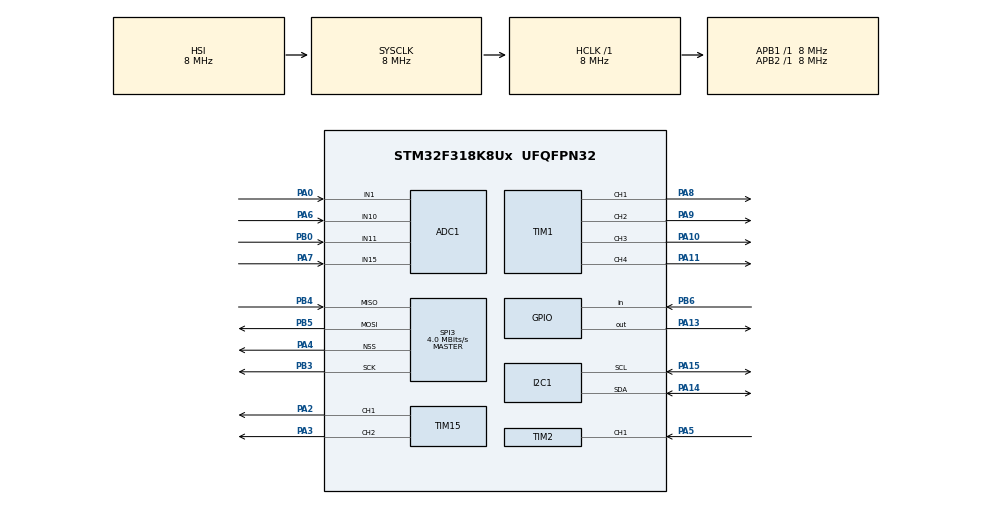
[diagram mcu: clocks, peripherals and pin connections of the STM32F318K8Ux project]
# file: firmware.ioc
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ADC1.Channel-1\#ChannelRegularConversion=ADC_CHANNEL_1
ADC1.ClockPrescaler=ADC_CLOCK_ASYNC_DIV1
ADC1.DMAContinuousRequests=ENABLE
ADC1.NbrOfConversionFlag=1
ADC1.Offset-1\#ChannelRegularConversion=0
ADC1.OffsetNumber-1\#ChannelRegularConversion=ADC_OFFSET_NONE
ADC1.Rank-1\#ChannelRegularConversion=1
ADC1.SamplingTime-1\#ChannelRegularConversion=ADC_SAMPLETIME_1CYCLE_5
ADC1.SubFamily=STM32F318x8
ADC1.master=1
Dma.ADC1.0.Direction=DMA_PERIPH_TO_MEMORY
Dma.ADC1.0.Instance=DMA1_Channel1
Dma.ADC1.0.MemDataAlignment=DMA_MDATAALIGN_HALFWORD
Dma.ADC1.0.MemInc=DMA_MINC_ENABLE
Dma.ADC1.0.Mode=DMA_NORMAL
Dma.ADC1.0.PeriphDataAlignment=DMA_PDATAALIGN_HALFWORD
Dma.ADC1.0.PeriphInc=DMA_PINC_DISABLE
Dma.ADC1.0.Priority=DMA_PRIORITY_MEDIUM
Dma.Request0=ADC1
I2C1.Timing=0x00201D2B
Mcu.Family=STM32F3
Mcu.Name=STM32F318K8Ux
Mcu.Package=UFQFPN32
NVIC.DMA1_Channel1_IRQn=true\:0\:0\:false\:false\:true\:false\:true\:true
NVIC.PriorityGroup=NVIC_PRIORITYGROUP_4
NVIC.TIM2_IRQn=true\:0\:0\:false\:false\:true\:true\:true\:true
PA0.Mode=IN1-Single-Ended
PA0.Signal=ADC1_IN1
PA10.Signal=S_TIM1_CH3
PA11.Signal=S_TIM1_CH4
PA13.GPIO_PuPd=GPIO_PULLUP
PA13.Signal=GPIO_Output
PA14.Mode=I2C
PA14.Signal=I2C1_SDA
PA15.Mode=I2C
PA15.Signal=I2C1_SCL
PA2.Signal=S_TIM15_CH1
PA3.Signal=S_TIM15_CH2
PA4.Mode=NSS_Signal_Hard_Output
PA4.Signal=SPI3_NSS
PA5.Signal=S_TIM2_CH1_ETR
PA6.Signal=ADCx_IN10
PA7.Mode=IN15-Single-Ended
PA7.Signal=ADC1_IN15
PA8.Signal=S_TIM1_CH1
PA9.Signal=S_TIM1_CH2
PB0.Mode=IN11-Single-Ended
PB0.Signal=ADC1_IN11
PB3.Mode=Full_Duplex_Master
PB3.Signal=SPI3_SCK
PB4.Mode=Full_Duplex_Master
PB4.Signal=SPI3_MISO
PB5.Mode=Full_Duplex_Master
PB5.Signal=SPI3_MOSI
PB6.Signal=GPIO_Input
PF0-OSC_IN.Mode=HSE-External-Oscillator
PF0-OSC_IN.Signal=RCC_OSC_IN
PF1-OSC_OUT.Mode=HSE-External-Oscillator
PF1-OSC_OUT.Signal=RCC_OSC_OUT
ProjectManager.HeapSize=0x200
ProjectManager.StackSize=0x400
ProjectManager.TargetToolchain=CMake
RCC.AHBFreq_Value=8000000
RCC.APB1Freq_Value=8000000
RCC.APB2Freq_Value=8000000
RCC.CortexFreq_Value=8000000
RCC.HSE_VALUE=8000000
RCC.HSI_VALUE=8000000
RCC.PLLMUL=RCC_PLL_MUL4
RCC.SYSCLKFreq_VALUE=8000000
SH.ADCx_IN10.0=ADC1_IN10,IN10-Single-Ended
SH.S_TIM15_CH1.0=TIM15_CH1,PWM Generation1 CH1
SH.S_TIM15_CH2.0=TIM15_CH2,PWM Generation2 CH2
SH.S_TIM1_CH1.0=TIM1_CH1,PWM Generation1 CH1
SH.S_TIM1_CH2.0=TIM1_CH2,PWM Generation2 CH2
SH.S_TIM1_CH3.0=TIM1_CH3,PWM Generation3 CH3
SH.S_TIM1_CH4.0=TIM1_CH4,PWM Generation4 CH4
SH.S_TIM2_CH1_ETR.0=TIM2_CH1,PWM_Input_1
SPI3.CalculateBaudRate=4.0 MBits/s
SPI3.Direction=SPI_DIRECTION_2LINES
SPI3.Mode=SPI_MODE_MASTER
SPI3.VirtualNSS=VM_NSSHARD
SPI3.VirtualType=VM_MASTER
TIM1.AutoReloadPreload=TIM_AUTORELOAD_PRELOAD_ENABLE
TIM1.Channel-PWM\ Generation1\ CH1=TIM_CHANNEL_1
TIM1.Channel-PWM\ Generation2\ CH2=TIM_CHANNEL_2
TIM1.Channel-PWM\ Generation3\ CH3=TIM_CHANNEL_3
TIM1.Channel-PWM\ Generation4\ CH4=TIM_CHANNEL_4
TIM15.AutoReloadPreload=TIM_AUTORELOAD_PRELOAD_ENABLE
TIM15.Channel-PWM\ Generation1\ CH1=TIM_CHANNEL_1
TIM15.Channel-PWM\ Generation2\ CH2=TIM_CHANNEL_2
VP_ADC1_TempSens_Input.Mode=IN-TempSens
VP_TIM15_VS_ClockSourceINT.Mode=Internal
VP_TIM1_VS_ClockSourceINT.Mode=Internal
VP_TIM2_VS_ClockSourceINT.Mode=Internal
board=custom

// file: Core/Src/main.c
/* USER CODE BEGIN Header */
/**
 ******************************************************************************
 * @file           : main.c
 * @brief          : Main program body
 ******************************************************************************
 * @attention
 *
 * Copyright (c) 2026 STMicroelectronics.
 * All rights reserved.
 *
 * This software is licensed under terms that can be found in the LICENSE file
 * in the root directory of this software component.
 * If no LICENSE file comes with this software, it is provided AS-IS.
 *
 ******************************************************************************
 */
/* USER CODE END Header */
#include "main.h"

/* USER CODE BEGIN Includes */

#include <stdbool.h>
#include <stddef.h>
#include <stdint.h>
#include <sys/types.h>

#include "pid.h"
#include "stm32f3xx_hal_gpio.h"

/* USER CODE END Includes */

/* USER CODE BEGIN PD */

#define HAL_TIMEOUT 100
#define MIN_RPM 100
#define MAX_RPM 1000
#define BEMF_MIN_MARGIN 0.1 // How much above zero the BEMF voltage needs to be to read
#define BEMF_MAX_MARGIN 1   // How much below sys voltage BEMF needs to be to read
#define SET_ROTOR_TIME 10   // How long to wait in ms to set rotor to position
#define MIN_DUTY_CYCLE 0.1  // Minimum pwm duty cycle to send to gate driver

// System define
#define BEMF_A_INDEX 1
#define BEMF_B_INDEX 2
#define BEMF_C_INDEX 0
#define V_GND_INDEX 3
#define TEMP_INDEX 4

/* USER CODE END PD */

ADC_HandleTypeDef hadc1;
DMA_HandleTypeDef hdma_adc1;

I2C_HandleTypeDef hi2c1;

SPI_HandleTypeDef hspi3;

TIM_HandleTypeDef htim1;
TIM_HandleTypeDef htim2;
TIM_HandleTypeDef htim15;

/* USER CODE BEGIN PV */

const uint32_t STARTUP_DELAY = MIN_RPM / 360000; // Convert RPM to 1/6 revolutions per ms

pid_control_t speed_pid;

double rotor_angle;
double prev_rotor_angle;
double prev_rotor_angle_time;
double prev_rotor_speed_time;
double zero_cross_time;
double rotor_speed;
double input_speed;

double rotor_current[3];
double rotor_bemf[3];
double prev_rotor_bemf[3];

int8_t dir = 1;
int8_t sequence[6][3] = { // 1 is VCC, -1 is GND, and 0 is floating
	{1, -1, 0},
	{1, 0, -1},
	{0, 1, -1},
	{-1, 1, 0},
	{-1, 0, 1},
	{0, -1, 1}
};
volatile uint32_t *sequence_tim[3][2] = {
	{&TIM1->CCR4, &TIM1->CCR3},
	{&TIM1->CCR2, &TIM1->CCR1},
	{&TIM15->CCR1, &TIM15->CCR2},
};
uint32_t phase_angles[] = {0, 120, 240};
uint8_t step;
uint8_t floating;

uint32_t adc_buf[5];
/* USER CODE END PV */

void SystemClock_Config(void);
static void MX_GPIO_Init(void);
static void MX_DMA_Init(void);
static void MX_ADC1_Init(void);
static void MX_I2C1_Init(void);
static void MX_SPI3_Init(void);
static void MX_TIM1_Init(void);
static void MX_TIM2_Init(void);
static void MX_TIM15_Init(void);
/* USER CODE BEGIN PFP */

// Helper functions
static uint8_t sign(double value);
static float process_adc(uint32_t raw_value);
static float process_current(double raw_value);
static uint8_t check_valid_bemf(double bemf_v);
static double clamp(double value, double min, double max);
static double map(double value, double in_min, double in_max, double out_min, double out_max);

// Primary funcitons
static double get_rotor_angle(uint8_t floating, double rotor_speed);
static void get_rotor_bemf(double *rotor_bemf_p);
static void get_rotor_current(double *rotor_current_p);

static void drive_rotor(uint8_t step, double duty_cycle);
static void get_zero_crossing(double bemf[3], double prev_bemf[3]);

static void set_rotor(void);
static void startup_sequence(void);

/* USER CODE END PFP */

int main(void)
{

	/* USER CODE BEGIN 1 */
	reset_pid(&speed_pid);

	/* USER CODE END 1 */

	/* MCU Configuration--------------------------------------------------------*/

	/* Reset of all peripherals, Initializes the Flash interface and the Systick. */
	HAL_Init();

	/* Configure the system clock */
	SystemClock_Config();

	/* Initialize all configured peripherals */
	MX_GPIO_Init();
	MX_DMA_Init();
	MX_ADC1_Init();
	MX_I2C1_Init();
	MX_SPI3_Init();
	MX_TIM1_Init();
	MX_TIM2_Init();
	MX_TIM15_Init();
	/* USER CODE BEGIN 2 */

	// Start polling ADC
	HAL_ADC_Start_DMA(&hadc1, adc_buf, 5);

	// Get motor direction
	if (HAL_GPIO_ReadPin(GPIOB, 6)) {
		dir = -1;
	}

	set_rotor();

	/* USER CODE END 2 */

	/* Infinite loop */
	while (1)
	{

		/* USER CODE BEGIN 3 */

		get_rotor_bemf(rotor_bemf);
		get_zero_crossing(rotor_bemf, prev_rotor_bemf);
		rotor_angle = get_rotor_angle(floating, rotor_speed);

		loop_pid(&speed_pid, rotor_speed, input_speed);

		drive_rotor(step, clamp(speed_pid.output, MIN_DUTY_CYCLE, 100));

		// Update previous rotor bemf
		for (int i = 0; i < 3; i++) {
			prev_rotor_bemf[i] = rotor_bemf[i];
		}
	}
	/* USER CODE END 3 */
}

void SystemClock_Config(void)
{
	RCC_OscInitTypeDef RCC_OscInitStruct = {0};
	RCC_ClkInitTypeDef RCC_ClkInitStruct = {0};
	RCC_PeriphCLKInitTypeDef PeriphClkInit = {0};

	/** Initializes the RCC Oscillators according to the specified parameters
	 * in the RCC_OscInitTypeDef structure.
	 */
	RCC_OscInitStruct.OscillatorType = RCC_OSCILLATORTYPE_HSI;
	RCC_OscInitStruct.HSIState = RCC_HSI_ON;
	RCC_OscInitStruct.HSICalibrationValue = RCC_HSICALIBRATION_DEFAULT;
	RCC_OscInitStruct.PLL.PLLState = RCC_PLL_ON;
	RCC_OscInitStruct.PLL.PLLSource = RCC_PLLSOURCE_HSI;
	RCC_OscInitStruct.PLL.PLLMUL = RCC_PLL_MUL4;
	if (HAL_RCC_OscConfig(&RCC_OscInitStruct) != HAL_OK)
	{
		Error_Handler();
	}

	/** Initializes the CPU, AHB and APB buses clocks
	 */
	RCC_ClkInitStruct.ClockType = RCC_CLOCKTYPE_HCLK|RCC_CLOCKTYPE_SYSCLK
	                              |RCC_CLOCKTYPE_PCLK1|RCC_CLOCKTYPE_PCLK2;
	RCC_ClkInitStruct.SYSCLKSource = RCC_SYSCLKSOURCE_HSI;
	RCC_ClkInitStruct.AHBCLKDivider = RCC_SYSCLK_DIV1;
	RCC_ClkInitStruct.APB1CLKDivider = RCC_HCLK_DIV1;
	RCC_ClkInitStruct.APB2CLKDivider = RCC_HCLK_DIV1;

	if (HAL_RCC_ClockConfig(&RCC_ClkInitStruct, FLASH_LATENCY_0) != HAL_OK)
	{
		Error_Handler();
	}
	PeriphClkInit.PeriphClockSelection = RCC_PERIPHCLK_I2C1|RCC_PERIPHCLK_TIM1
	                                     |RCC_PERIPHCLK_TIM15|RCC_PERIPHCLK_ADC1;
	PeriphClkInit.I2c1ClockSelection = RCC_I2C1CLKSOURCE_HSI;
	PeriphClkInit.Tim1ClockSelection = RCC_TIM1CLK_HCLK;
	PeriphClkInit.Tim15ClockSelection = RCC_TIM15CLK_HCLK;
	PeriphClkInit.Adc1ClockSelection = RCC_ADC1PLLCLK_DIV1;

	if (HAL_RCCEx_PeriphCLKConfig(&PeriphClkInit) != HAL_OK)
	{
		Error_Handler();
	}
}

static void MX_ADC1_Init(void)
{

	ADC_ChannelConfTypeDef sConfig = {0};

	/** Common config
	 */
	hadc1.Instance = ADC1;
	hadc1.Init.ClockPrescaler = ADC_CLOCK_ASYNC_DIV1;
	hadc1.Init.Resolution = ADC_RESOLUTION_12B;
	hadc1.Init.ScanConvMode = ADC_SCAN_DISABLE;
	hadc1.Init.ContinuousConvMode = DISABLE;
	hadc1.Init.DiscontinuousConvMode = DISABLE;
	hadc1.Init.ExternalTrigConvEdge = ADC_EXTERNALTRIGCONVEDGE_NONE;
	hadc1.Init.ExternalTrigConv = ADC_SOFTWARE_START;
	hadc1.Init.DataAlign = ADC_DATAALIGN_RIGHT;
	hadc1.Init.NbrOfConversion = 1;
	hadc1.Init.DMAContinuousRequests = ENABLE;
	hadc1.Init.EOCSelection = ADC_EOC_SINGLE_CONV;
	hadc1.Init.LowPowerAutoWait = DISABLE;
	hadc1.Init.Overrun = ADC_OVR_DATA_OVERWRITTEN;
	if (HAL_ADC_Init(&hadc1) != HAL_OK)
	{
		Error_Handler();
	}

	/** Configure Regular Channel
	 */
	sConfig.Channel = ADC_CHANNEL_1;
	sConfig.Rank = ADC_REGULAR_RANK_1;
	sConfig.SingleDiff = ADC_SINGLE_ENDED;
	sConfig.SamplingTime = ADC_SAMPLETIME_1CYCLE_5;
	sConfig.OffsetNumber = ADC_OFFSET_NONE;
	sConfig.Offset = 0;
	if (HAL_ADC_ConfigChannel(&hadc1, &sConfig) != HAL_OK)
	{
		Error_Handler();
	}

}

static void MX_I2C1_Init(void)
{

	hi2c1.Instance = I2C1;
	hi2c1.Init.Timing = 0x00201D2B;
	hi2c1.Init.OwnAddress1 = 0;
	hi2c1.Init.AddressingMode = I2C_ADDRESSINGMODE_7BIT;
	hi2c1.Init.DualAddressMode = I2C_DUALADDRESS_DISABLE;
	hi2c1.Init.OwnAddress2 = 0;
	hi2c1.Init.OwnAddress2Masks = I2C_OA2_NOMASK;
	hi2c1.Init.GeneralCallMode = I2C_GENERALCALL_DISABLE;
	hi2c1.Init.NoStretchMode = I2C_NOSTRETCH_DISABLE;
	if (HAL_I2C_Init(&hi2c1) != HAL_OK)
	{
		Error_Handler();
	}

	/** Configure Analogue filter
	 */
	if (HAL_I2CEx_ConfigAnalogFilter(&hi2c1, I2C_ANALOGFILTER_ENABLE) != HAL_OK)
	{
		Error_Handler();
	}

	/** Configure Digital filter
	 */
	if (HAL_I2CEx_ConfigDigitalFilter(&hi2c1, 0) != HAL_OK)
	{
		Error_Handler();
	}

}

static void MX_SPI3_Init(void)
{

	/* SPI3 parameter configuration*/
	hspi3.Instance = SPI3;
	hspi3.Init.Mode = SPI_MODE_MASTER;
	hspi3.Init.Direction = SPI_DIRECTION_2LINES;
	hspi3.Init.DataSize = SPI_DATASIZE_4BIT;
	hspi3.Init.CLKPolarity = SPI_POLARITY_LOW;
	hspi3.Init.CLKPhase = SPI_PHASE_1EDGE;
	hspi3.Init.NSS = SPI_NSS_HARD_OUTPUT;
	hspi3.Init.BaudRatePrescaler = SPI_BAUDRATEPRESCALER_2;
	hspi3.Init.FirstBit = SPI_FIRSTBIT_MSB;
	hspi3.Init.TIMode = SPI_TIMODE_DISABLE;
	hspi3.Init.CRCCalculation = SPI_CRCCALCULATION_DISABLE;
	hspi3.Init.CRCPolynomial = 7;
	hspi3.Init.CRCLength = SPI_CRC_LENGTH_DATASIZE;
	hspi3.Init.NSSPMode = SPI_NSS_PULSE_ENABLE;
	if (HAL_SPI_Init(&hspi3) != HAL_OK)
	{
		Error_Handler();
	}

}

static void MX_TIM1_Init(void)
{

	TIM_ClockConfigTypeDef sClockSourceConfig = {0};
	TIM_MasterConfigTypeDef sMasterConfig = {0};
	TIM_OC_InitTypeDef sConfigOC = {0};
	TIM_BreakDeadTimeConfigTypeDef sBreakDeadTimeConfig = {0};

	htim1.Instance = TIM1;
	htim1.Init.Prescaler = 0;
	htim1.Init.CounterMode = TIM_COUNTERMODE_UP;
	htim1.Init.Period = 65535;
	htim1.Init.ClockDivision = TIM_CLOCKDIVISION_DIV1;
	htim1.Init.RepetitionCounter = 0;
	htim1.Init.AutoReloadPreload = TIM_AUTORELOAD_PRELOAD_ENABLE;
	if (HAL_TIM_Base_Init(&htim1) != HAL_OK)
	{
		Error_Handler();
	}
	sClockSourceConfig.ClockSource = TIM_CLOCKSOURCE_INTERNAL;
	if (HAL_TIM_ConfigClockSource(&htim1, &sClockSourceConfig) != HAL_OK)
	{
		Error_Handler();
	}
	if (HAL_TIM_PWM_Init(&htim1) != HAL_OK)
	{
		Error_Handler();
	}
	sMasterConfig.MasterOutputTrigger = TIM_TRGO_RESET;
	sMasterConfig.MasterOutputTrigger2 = TIM_TRGO2_RESET;
	sMasterConfig.MasterSlaveMode = TIM_MASTERSLAVEMODE_DISABLE;
	if (HAL_TIMEx_MasterConfigSynchronization(&htim1, &sMasterConfig) != HAL_OK)
	{
		Error_Handler();
	}
	sConfigOC.OCMode = TIM_OCMODE_PWM1;
	sConfigOC.Pulse = 0;
	sConfigOC.OCPolarity = TIM_OCPOLARITY_HIGH;
	sConfigOC.OCNPolarity = TIM_OCNPOLARITY_HIGH;
	sConfigOC.OCFastMode = TIM_OCFAST_DISABLE;
	sConfigOC.OCIdleState = TIM_OCIDLESTATE_RESET;
	sConfigOC.OCNIdleState = TIM_OCNIDLESTATE_RESET;
	if (HAL_TIM_PWM_ConfigChannel(&htim1, &sConfigOC, TIM_CHANNEL_1) != HAL_OK)
	{
		Error_Handler();
	}
	if (HAL_TIM_PWM_ConfigChannel(&htim1, &sConfigOC, TIM_CHANNEL_2) != HAL_OK)
	{
		Error_Handler();
	}
	if (HAL_TIM_PWM_ConfigChannel(&htim1, &sConfigOC, TIM_CHANNEL_3) != HAL_OK)
	{
		Error_Handler();
	}
	if (HAL_TIM_PWM_ConfigChannel(&htim1, &sConfigOC, TIM_CHANNEL_4) != HAL_OK)
	{
		Error_Handler();
	}
	sBreakDeadTimeConfig.OffStateRunMode = TIM_OSSR_DISABLE;
	sBreakDeadTimeConfig.OffStateIDLEMode = TIM_OSSI_DISABLE;
	sBreakDeadTimeConfig.LockLevel = TIM_LOCKLEVEL_OFF;
	sBreakDeadTimeConfig.DeadTime = 0;
	sBreakDeadTimeConfig.BreakState = TIM_BREAK_DISABLE;
	sBreakDeadTimeConfig.BreakPolarity = TIM_BREAKPOLARITY_HIGH;
	sBreakDeadTimeConfig.BreakFilter = 0;
	sBreakDeadTimeConfig.Break2State = TIM_BREAK2_DISABLE;
	sBreakDeadTimeConfig.Break2Polarity = TIM_BREAK2POLARITY_HIGH;
	sBreakDeadTimeConfig.Break2Filter = 0;
	sBreakDeadTimeConfig.AutomaticOutput = TIM_AUTOMATICOUTPUT_DISABLE;
	if (HAL_TIMEx_ConfigBreakDeadTime(&htim1, &sBreakDeadTimeConfig) != HAL_OK)
	{
		Error_Handler();
	}
	HAL_TIM_MspPostInit(&htim1);

}

static void MX_TIM2_Init(void)
{

	TIM_ClockConfigTypeDef sClockSourceConfig = {0};
	TIM_SlaveConfigTypeDef sSlaveConfig = {0};
	TIM_IC_InitTypeDef sConfigIC = {0};
	TIM_MasterConfigTypeDef sMasterConfig = {0};

	htim2.Instance = TIM2;
	htim2.Init.Prescaler = 0;
	htim2.Init.CounterMode = TIM_COUNTERMODE_UP;
	htim2.Init.Period = 4294967295;
	htim2.Init.ClockDivision = TIM_CLOCKDIVISION_DIV1;
	htim2.Init.AutoReloadPreload = TIM_AUTORELOAD_PRELOAD_DISABLE;
	if (HAL_TIM_Base_Init(&htim2) != HAL_OK)
	{
		Error_Handler();
	}
	sClockSourceConfig.ClockSource = TIM_CLOCKSOURCE_INTERNAL;
	if (HAL_TIM_ConfigClockSource(&htim2, &sClockSourceConfig) != HAL_OK)
	{
		Error_Handler();
	}
	if (HAL_TIM_IC_Init(&htim2) != HAL_OK)
	{
		Error_Handler();
	}
	sSlaveConfig.SlaveMode = TIM_SLAVEMODE_RESET;
	sSlaveConfig.InputTrigger = TIM_TS_TI1FP1;
	sSlaveConfig.TriggerPolarity = TIM_INPUTCHANNELPOLARITY_RISING;
	sSlaveConfig.TriggerPrescaler = TIM_ICPSC_DIV1;
	sSlaveConfig.TriggerFilter = 0;
	if (HAL_TIM_SlaveConfigSynchro(&htim2, &sSlaveConfig) != HAL_OK)
	{
		Error_Handler();
	}
	sConfigIC.ICPolarity = TIM_INPUTCHANNELPOLARITY_RISING;
	sConfigIC.ICSelection = TIM_ICSELECTION_DIRECTTI;
	sConfigIC.ICPrescaler = TIM_ICPSC_DIV1;
	sConfigIC.ICFilter = 0;
	if (HAL_TIM_IC_ConfigChannel(&htim2, &sConfigIC, TIM_CHANNEL_1) != HAL_OK)
	{
		Error_Handler();
	}
	sConfigIC.ICPolarity = TIM_INPUTCHANNELPOLARITY_FALLING;
	sConfigIC.ICSelection = TIM_ICSELECTION_INDIRECTTI;
	if (HAL_TIM_IC_ConfigChannel(&htim2, &sConfigIC, TIM_CHANNEL_2) != HAL_OK)
	{
		Error_Handler();
	}
	sMasterConfig.MasterOutputTrigger = TIM_TRGO_RESET;
	sMasterConfig.MasterSlaveMode = TIM_MASTERSLAVEMODE_DISABLE;
	if (HAL_TIMEx_MasterConfigSynchronization(&htim2, &sMasterConfig) != HAL_OK)
	{
		Error_Handler();
	}

}

static void MX_TIM15_Init(void)
{

	TIM_ClockConfigTypeDef sClockSourceConfig = {0};
	TIM_MasterConfigTypeDef sMasterConfig = {0};
	TIM_OC_InitTypeDef sConfigOC = {0};
	TIM_BreakDeadTimeConfigTypeDef sBreakDeadTimeConfig = {0};

	htim15.Instance = TIM15;
	htim15.Init.Prescaler = 0;
	htim15.Init.CounterMode = TIM_COUNTERMODE_UP;
	htim15.Init.Period = 65535;
	htim15.Init.ClockDivision = TIM_CLOCKDIVISION_DIV1;
	htim15.Init.RepetitionCounter = 0;
	htim15.Init.AutoReloadPreload = TIM_AUTORELOAD_PRELOAD_ENABLE;
	if (HAL_TIM_Base_Init(&htim15) != HAL_OK)
	{
		Error_Handler();
	}
	sClockSourceConfig.ClockSource = TIM_CLOCKSOURCE_INTERNAL;
	if (HAL_TIM_ConfigClockSource(&htim15, &sClockSourceConfig) != HAL_OK)
	{
		Error_Handler();
	}
	if (HAL_TIM_PWM_Init(&htim15) != HAL_OK)
	{
		Error_Handler();
	}
	sMasterConfig.MasterOutputTrigger = TIM_TRGO_RESET;
	sMasterConfig.MasterSlaveMode = TIM_MASTERSLAVEMODE_DISABLE;
	if (HAL_TIMEx_MasterConfigSynchronization(&htim15, &sMasterConfig) != HAL_OK)
	{
		Error_Handler();
	}
	sConfigOC.OCMode = TIM_OCMODE_PWM1;
	sConfigOC.Pulse = 0;
	sConfigOC.OCPolarity = TIM_OCPOLARITY_HIGH;
	sConfigOC.OCNPolarity = TIM_OCNPOLARITY_HIGH;
	sConfigOC.OCFastMode = TIM_OCFAST_DISABLE;
	sConfigOC.OCIdleState = TIM_OCIDLESTATE_RESET;
	sConfigOC.OCNIdleState = TIM_OCNIDLESTATE_RESET;
	if (HAL_TIM_PWM_ConfigChannel(&htim15, &sConfigOC, TIM_CHANNEL_1) != HAL_OK)
	{
		Error_Handler();
	}
	if (HAL_TIM_PWM_ConfigChannel(&htim15, &sConfigOC, TIM_CHANNEL_2) != HAL_OK)
	{
		Error_Handler();
	}
	sBreakDeadTimeConfig.OffStateRunMode = TIM_OSSR_DISABLE;
	sBreakDeadTimeConfig.OffStateIDLEMode = TIM_OSSI_DISABLE;
	sBreakDeadTimeConfig.LockLevel = TIM_LOCKLEVEL_OFF;
	sBreakDeadTimeConfig.DeadTime = 0;
	sBreakDeadTimeConfig.BreakState = TIM_BREAK_DISABLE;
	sBreakDeadTimeConfig.BreakPolarity = TIM_BREAKPOLARITY_HIGH;
	sBreakDeadTimeConfig.BreakFilter = 0;
	sBreakDeadTimeConfig.AutomaticOutput = TIM_AUTOMATICOUTPUT_DISABLE;
	if (HAL_TIMEx_ConfigBreakDeadTime(&htim15, &sBreakDeadTimeConfig) != HAL_OK)
	{
		Error_Handler();
	}
	HAL_TIM_MspPostInit(&htim15);

}

static void MX_DMA_Init(void)
{

	/* DMA controller clock enable */
	__HAL_RCC_DMA1_CLK_ENABLE();

	/* DMA interrupt init */
	/* DMA1_Channel1_IRQn interrupt configuration */
	HAL_NVIC_SetPriority(DMA1_Channel1_IRQn, 0, 0);
	HAL_NVIC_EnableIRQ(DMA1_Channel1_IRQn);

}

static void MX_GPIO_Init(void)
{
	GPIO_InitTypeDef GPIO_InitStruct = {0};

	/* GPIO Ports Clock Enable */
	__HAL_RCC_GPIOF_CLK_ENABLE();
	__HAL_RCC_GPIOA_CLK_ENABLE();
	__HAL_RCC_GPIOB_CLK_ENABLE();

	/*Configure GPIO pin Output Level */
	HAL_GPIO_WritePin(GPIOA, GPIO_PIN_13, GPIO_PIN_RESET);

	/*Configure GPIO pin : PA13 */
	GPIO_InitStruct.Pin = GPIO_PIN_13;
	GPIO_InitStruct.Mode = GPIO_MODE_OUTPUT_PP;
	GPIO_InitStruct.Pull = GPIO_PULLUP;
	GPIO_InitStruct.Speed = GPIO_SPEED_FREQ_LOW;
	HAL_GPIO_Init(GPIOA, &GPIO_InitStruct);

	/*Configure GPIO pin : PB6 */
	GPIO_InitStruct.Pin = GPIO_PIN_6;
	GPIO_InitStruct.Mode = GPIO_MODE_INPUT;
	GPIO_InitStruct.Pull = GPIO_NOPULL;
	HAL_GPIO_Init(GPIOB, &GPIO_InitStruct);

}

/* USER CODE BEGIN 4 */

void HAL_TIM_IC_CaptureCallback(TIM_HandleTypeDef *htim)
{
	if (htim->Instance == TIM2)
	{
		double duty_cycle = (HAL_TIM_ReadCapturedValue(htim, TIM_CHANNEL_1) / 4294967295.0) * 100.0;

		// Convert duty cycle to rpm
		input_speed = map(duty_cycle, 0, 100, MIN_RPM, MAX_RPM);
	}
}

static uint8_t sign(double value) {
	if (value > 0) {
		return 1;
	}

	if (value < 0) {
		return -1;
	}

	return 0;
}

static float process_adc(uint32_t raw_value) {
	return (raw_value * ADC_RESOLUTION_12B) / 3.3;
}

static uint8_t check_valid_bemf(double bemf_v) {
	if (bemf_v < BEMF_MIN_MARGIN) {
		return 1; // BEMF voltage is too small to read
	}

	return 0;
}

static double clamp(double value, double min, double max) {
	if (value < min) {
		return min;
	}

	if (value > max) {
		return max;
	}

	return value;
}

static double map(double value, double in_min, double in_max, double out_min, double out_max) {
	return (value - in_min) * (out_max - out_min) / (in_max - in_min) + out_min;
}

static double get_rotor_angle(uint8_t floating, double rotor_speed) {
	double angle = phase_angles[floating];

	double rotor_time = HAL_GetTick() - zero_cross_time;
	angle += rotor_speed * (rotor_time / 60000); // Convert rotor time to minutes.

	return angle;
}

static void get_rotor_bemf(double *rotor_bemf_p) {
	float v_gnd = process_adc(adc_buf[V_GND_INDEX]);

	// Phase A is floating
	if (floating == 0) {
		double voltage = process_adc(adc_buf[BEMF_A_INDEX]) - v_gnd;

		if (check_valid_bemf(voltage) == 1) { // BEMF is to small to detect, run startup sequence
			startup_sequence();
		}

		if (check_valid_bemf(voltage) == 2) { // BEMF is sys voltage, reading ADC at the wrong time
			return;
		}

		rotor_bemf_p[0] = voltage;
		return;
	}

	// Phase B is floating
	if (floating == 1) {
		double voltage = process_adc(adc_buf[BEMF_B_INDEX]) - v_gnd;

		if (check_valid_bemf(voltage) == 1) { // BEMF is to small to detect, run startup sequence
			startup_sequence();
		}

		if (check_valid_bemf(voltage) == 2) { // BEMF is sys voltage, reading ADC at the wrong time
			return;
		}

		rotor_bemf_p[1] = voltage;
		return;
	}

	// Phase C is floating
	if (floating == 2) {
		double voltage = process_adc(adc_buf[BEMF_C_INDEX]) - v_gnd;

		if (check_valid_bemf(voltage) == 1) { // BEMF is to small to detect, run startup sequence
			startup_sequence();
		}

		if (check_valid_bemf(voltage) == 2) { // BEMF is sys voltage, reading ADC at the wrong time
			return;
		}

		rotor_bemf_p[2] = voltage;
		return;
	}
}

static void drive_rotor(uint8_t step, double duty_cycle) {
	double duty_cycle_maped = map(duty_cycle, 0, 100, 0, 65535);

	for (int i = 0; i < 3; i++) {
		if (dir * sequence[step][i] == 0) {
			floating = i;
			*sequence_tim[i][0] = 0;
			*sequence_tim[i][1] = 0;
			continue;
		}
		if (dir * sequence[step][i] == 1) {
			*sequence_tim[i][0] = duty_cycle_maped;
			*sequence_tim[i][1] = 0;
			continue;
		}
		if (dir * sequence[step][i] == -1) {
			*sequence_tim[i][0] = 0;
			*sequence_tim[i][1] = duty_cycle_maped;
			continue;
		}
	}
}

static void get_zero_crossing(double bemf[3], double prev_bemf[3]) {
	if (sign(rotor_bemf[floating] != sign(prev_rotor_bemf[floating]))) {
		step++;
		if (step > 6) {
			step = 0;
		}

		// Update speed when zero crossing is detected.
		double time = HAL_GetTick() - zero_cross_time;
		rotor_speed = 3 * (time / 60000); // Convert to RPM

		zero_cross_time = HAL_GetTick();
	}
}

static void set_rotor(void) {
	// Set rotor to 0 degrees

	drive_rotor(0, 100);

	HAL_Delay(SET_ROTOR_TIME);
}

static void startup_sequence(void) {
	drive_rotor(step, MIN_DUTY_CYCLE);

	HAL_Delay(STARTUP_DELAY);

	step++;
}

/* USER CODE END 4 */

void Error_Handler(void)
{
	__disable_irq();
	while (1)
	{
	}
}
